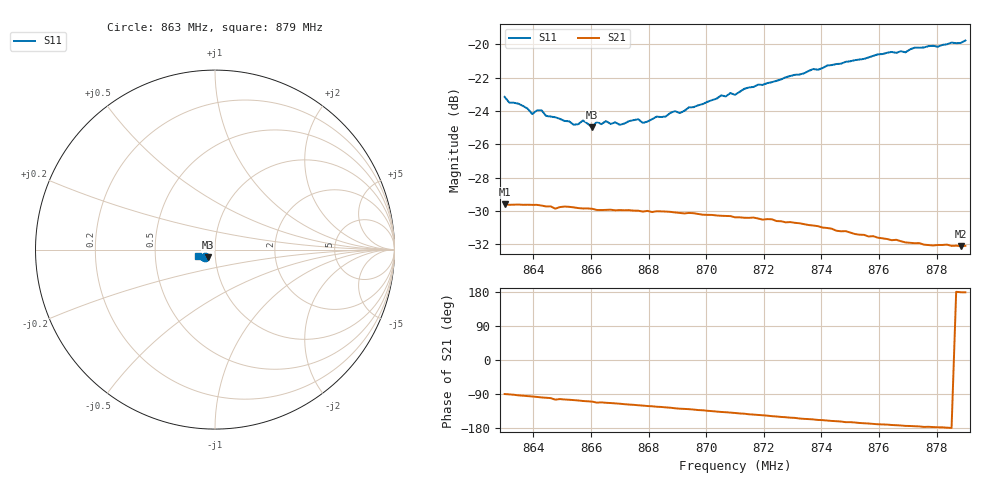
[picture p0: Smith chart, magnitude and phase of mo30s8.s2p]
# HZ S RI R 50
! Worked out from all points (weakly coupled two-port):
!   101 points, 863 MHz to 879 MHz, reference 50 ohm
!   highest |S21| = -29.60 dB at 863 MHz (marker M1); lowest = -32.1 dB at 878.84 MHz (marker M2)
!   lowest |S11| = -25.0 dB at 866.04 MHz (marker M3), VSWR 1.12, Z = 46.2 - j3.85 ohm
!   |S11| at or under -10 dB: start of sweep to end of sweep
!   S12 and S22 are empty: the file has one direction only
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8.63e8  -0.0563 -0.0409  0.000132 -0.0331  0 0  0 0
8.6316e8  -0.0529 -0.0409  -0.000379 -0.033  0 0  0 0
8.6364e8  -0.0513 -0.0404  -0.00242 -0.0329  0 0  0 0
8.6396e8  -0.0479 -0.039  -0.00356 -0.0328  0 0  0 0
8.6428e8  -0.0478 -0.0418  -0.00496 -0.0324  0 0  0 0
8.6444e8  -0.0464 -0.0395  -0.00546 -0.0321  0 0  0 0
8.654e8  -0.0418 -0.0392  -0.00883 -0.0312  0 0  0 0
8.6572e8  -0.0405 -0.043  -0.01 -0.0305  0 0  0 0
8.6604e8  -0.0382 -0.0415  -0.0108 -0.0302  0 0  0 0
8.662e8  -0.041 -0.0419  -0.0122 -0.0294  0 0  0 0
8.67e8  -0.0374 -0.0435  -0.0136 -0.0287  0 0  0 0
8.678e8  -0.0359 -0.0457  -0.0159 -0.0272  0 0  0 0
8.6844e8  -0.0353 -0.0491  -0.0176 -0.0261  0 0  0 0
8.6892e8  -0.0369 -0.0511  -0.019 -0.0248  0 0  0 0
8.6908e8  -0.0358 -0.0508  -0.0194 -0.0244  0 0  0 0
8.7052e8  -0.0405 -0.0574  -0.0224 -0.0208  0 0  0 0
8.71e8  -0.0411 -0.0574  -0.0231 -0.0195  0 0  0 0
8.7132e8  -0.0438 -0.0591  -0.0236 -0.0187  0 0  0 0
8.7372e8  -0.0571 -0.0621  -0.0262 -0.0113  0 0  0 0
8.7644e8  -0.0775 -0.0548  -0.0255 -0.00382  0 0  0 0
8.7884e8  -0.0934 -0.0386  -0.0248 0.000545  0 0  0 0
8.79e8  -0.0954 -0.0383  -0.0248 0.000612  0 0  0 0
